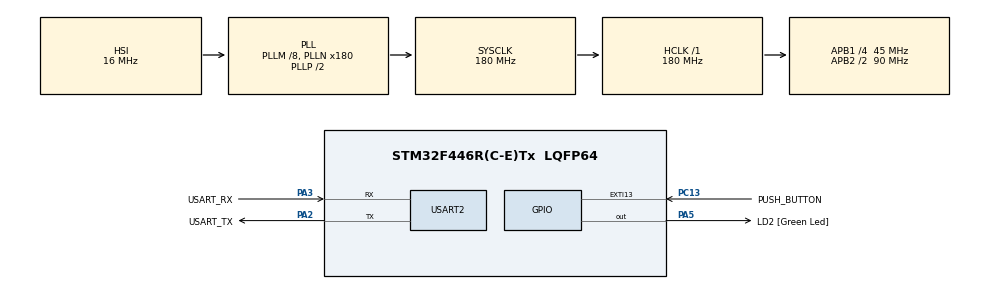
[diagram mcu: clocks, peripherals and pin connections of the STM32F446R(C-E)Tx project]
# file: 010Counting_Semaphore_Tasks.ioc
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Mcu.Family=STM32F4
VP_SYS_VS_tim6.Mode=TIM6
PH0-OSC_IN.Signal=RCC_OSC_IN
RCC.CortexFreq_Value=180000000
NVIC.TIM6_DAC_IRQn=true\:0\:0\:false\:false\:true\:false\:true
PC13.Signal=GPXTI13
PA14.GPIO_Label=TCK
VP_RTC_VS_RTC_Activate.Mode=RTC_Enabled
PC13.GPIO_Label=PUSH_BUTTON
RCC.APB1CLKDivider=RCC_HCLK_DIV4
PC14-OSC32_IN.Signal=RCC_OSC32_IN
NVIC.USART2_IRQn=true\:6\:0\:true\:false\:true\:true\:true
RCC.SYSCLKSource=RCC_SYSCLKSOURCE_PLLCLK
ProjectManager.StackSize=0x400
PA13.Signal=SYS_JTMS-SWDIO
PA3.Mode=Asynchronous
ProjectManager.TargetToolchain=STM32CubeIDE
RCC.HCLKFreq_Value=180000000
RCC.APB2TimFreq_Value=180000000
RCC.USBFreq_Value=180000000
RCC.LSE_VALUE=32768
PC15-OSC32_OUT.Signal=RCC_OSC32_OUT
RCC.AHBFreq_Value=180000000
PA5.Signal=GPIO_Output
RCC.HSE_VALUE=8000000
board=NUCLEO-F446RE
RCC.VCOOutputFreq_Value=360000000
RCC.APB2Freq_Value=90000000
PH1-OSC_OUT.Signal=RCC_OSC_OUT
Mcu.Name=STM32F446R(C-E)Tx
PA2.Signal=USART2_TX
PA13.GPIO_Label=TMS
RCC.FLatency-AdvancedSettings=FLASH_LATENCY_5
PB3.Signal=SYS_JTDO-SWO
RCC.SYSCLKFreq_VALUE=180000000
Mcu.Package=LQFP64
NVIC.TimeBase=TIM6_DAC_IRQn
PA5.GPIO_Label=LD2 [Green Led]
PC13.GPIO_ModeDefaultEXTI=GPIO_MODE_IT_RISING
USART2.VirtualMode=VM_ASYNC
PA2.GPIO_Label=USART_TX
NVIC.TimeBaseIP=TIM6
PA14.Signal=SYS_JTCK-SWCLK
RTC.HourFormat=RTC_HOURFORMAT_12
ProjectManager.HeapSize=0x200
RCC.HSI_VALUE=16000000
NVIC.PriorityGroup=NVIC_PRIORITYGROUP_4
RCC.APB2CLKDivider=RCC_HCLK_DIV2
RCC.PLLM=8
RCC.PLLN=180
RCC.APB1TimFreq_Value=90000000
PA2.Mode=Asynchronous
RCC.APB1Freq_Value=45000000
PA3.GPIO_Label=USART_RX
PA3.Signal=USART2_RX
PB3.GPIO_Label=SWO

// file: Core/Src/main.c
/* USER CODE BEGIN Header */
/**
  ******************************************************************************
  * @file           : main.c
  * @brief          : Main program body
  ******************************************************************************
  * @attention
  *
  * <h2><center>&copy; Copyright (c) 2021 STMicroelectronics.
  * All rights reserved.</center></h2>
  *
  * This software component is licensed by ST under BSD 3-Clause license,
  * the "License"; You may not use this file except in compliance with the
  * License. You may obtain a copy of the License at:
  *                        opensource.org/licenses/BSD-3-Clause
  *
  ******************************************************************************
  */
/* USER CODE END Header */
#include "main.h"

/* USER CODE BEGIN PD */
#define DWT_CTRL    (*(volatile uint32_t*)0xE0001000)

/* USER CODE END PD */

RTC_HandleTypeDef hrtc;

UART_HandleTypeDef huart2;

/* USER CODE BEGIN PV */
char usr_msg[250] = {0};
TaskHandle_t xTaskHandle1 = NULL;
TaskHandle_t xTaskHandle2 = NULL;

/* USER CODE END PV */

void SystemClock_Config(void);
static void MX_GPIO_Init(void);
static void MX_RTC_Init(void);
static void MX_USART2_UART_Init(void);
/* USER CODE BEGIN PFP */
void printmsg(char *msg);
static void vHandlerTask( void *pvParameters );
static void vPeriodicTask( void *pvParameters );

extern void SEGGER_UART_init(uint32_t);
/* Enable the software interrupt and set its priority. */
static void prvSetupSoftwareInterrupt();

/* The service routine for the interrupt.  This is the interrupt that the
task will be synchronized with. */
void vSoftwareInterruptHandler( void );
/* USER CODE END PFP */

/* USER CODE BEGIN 0 */

/* Declare a variable of type xSemaphoreHandle.  This is used to reference the
semaphore that is used to synchronize a task with an interrupt. */
xSemaphoreHandle xCountingSemaphore;
/* USER CODE END 0 */

int main(void)
{
  /* USER CODE BEGIN 1 */
	SEGGER_UART_init(500000);
	// Used to collect SEGGER Event time-stamps
	DWT->CTRL |= (1 << 0); //Enable CYCCNT in DWT_CTRL
  /* USER CODE END 1 */

  /* MCU Configuration--------------------------------------------------------*/

  /* Reset of all peripherals, Initializes the Flash interface and the Systick. */
  HAL_Init();

  /* Configure the system clock */
  SystemClock_Config();

  /* Initialize all configured peripherals */
  MX_GPIO_Init();
  MX_RTC_Init();
  MX_USART2_UART_Init();
  /* USER CODE BEGIN 2 */

  //Start Recording with Segger SystemView
	SEGGER_SYSVIEW_Conf();
	//SEGGER_SYSVIEW_Start();

	sprintf(usr_msg,"Demo of usage of counting semaphore\r\n");
	printmsg(usr_msg);

	/* Before a semaphore is used it must be explicitly created.  In this example
	a counting semaphore is created.  The semaphore is created to have a maximum
	count value of 10, and an initial count value of 0. */
	xCountingSemaphore = xSemaphoreCreateCounting(10, 0);

	/* Check the semaphore was created successfully. */
	if(xCountingSemaphore != NULL) {

		/* Enable the button interrupt and set its priority. */
		prvSetupSoftwareInterrupt();

		/* Create the 'handler' task.  This is the task that will be synchronized
		with the interrupt.  The handler task is created with a high priority to
		ensure it runs immediately after the interrupt exits.  In this case a
		priority of 3 is chosen. */
		xTaskCreate(vHandlerTask, "Handler", 500, NULL, 3, NULL);

		/* Create the task that will periodically generate a software interrupt.
		This is created with a priority below the handler task to ensure it will
		get preempted each time the handler task exist the Blocked state. */
		xTaskCreate(vPeriodicTask, "Periodic", 500, NULL, 1, NULL);

		/* Start the scheduler so the created tasks start executing. */
		vTaskStartScheduler();
	}

	sprintf(usr_msg, "Semaphore creation failed... \r\n");
	printmsg(usr_msg);

	//Code will never reach here if creation of Queue/Semaphore was successful because the scheduler will be running the tasks indefinitely.
	//If it does reach here, then it is likely due to insufficient heap memory available for a resource to be created.

  /* USER CODE END 2 */

  /* Infinite loop */
  while (1)
  {

  }
}

void SystemClock_Config(void)
{
  RCC_OscInitTypeDef RCC_OscInitStruct = {0};
  RCC_ClkInitTypeDef RCC_ClkInitStruct = {0};
  RCC_PeriphCLKInitTypeDef PeriphClkInitStruct = {0};

  /** Configure the main internal regulator output voltage
  */
  __HAL_RCC_PWR_CLK_ENABLE();
  __HAL_PWR_VOLTAGESCALING_CONFIG(PWR_REGULATOR_VOLTAGE_SCALE1);
  /** Initializes the RCC Oscillators according to the specified parameters
  * in the RCC_OscInitTypeDef structure.
  */
  RCC_OscInitStruct.OscillatorType = RCC_OSCILLATORTYPE_HSI|RCC_OSCILLATORTYPE_LSI;
  RCC_OscInitStruct.LSEState = RCC_LSE_OFF;
  RCC_OscInitStruct.HSIState = RCC_HSI_ON;
  RCC_OscInitStruct.HSICalibrationValue = RCC_HSICALIBRATION_DEFAULT;
  RCC_OscInitStruct.LSIState = RCC_LSI_ON;
  RCC_OscInitStruct.PLL.PLLState = RCC_PLL_ON;
  RCC_OscInitStruct.PLL.PLLSource = RCC_PLLSOURCE_HSI;
  RCC_OscInitStruct.PLL.PLLM = 8;
  RCC_OscInitStruct.PLL.PLLN = 180;
  RCC_OscInitStruct.PLL.PLLP = RCC_PLLP_DIV2;
  RCC_OscInitStruct.PLL.PLLQ = 2;
  RCC_OscInitStruct.PLL.PLLR = 2;
  if (HAL_RCC_OscConfig(&RCC_OscInitStruct) != HAL_OK)
  {
    Error_Handler();
  }
  /** Activate the Over-Drive mode
  */
  if (HAL_PWREx_EnableOverDrive() != HAL_OK)
  {
    Error_Handler();
  }
  /** Initializes the CPU, AHB and APB buses clocks
  */
  RCC_ClkInitStruct.ClockType = RCC_CLOCKTYPE_HCLK|RCC_CLOCKTYPE_SYSCLK
                              |RCC_CLOCKTYPE_PCLK1|RCC_CLOCKTYPE_PCLK2;
  RCC_ClkInitStruct.SYSCLKSource = RCC_SYSCLKSOURCE_PLLCLK;
  RCC_ClkInitStruct.AHBCLKDivider = RCC_SYSCLK_DIV1;
  RCC_ClkInitStruct.APB1CLKDivider = RCC_HCLK_DIV4;
  RCC_ClkInitStruct.APB2CLKDivider = RCC_HCLK_DIV2;

  if (HAL_RCC_ClockConfig(&RCC_ClkInitStruct, FLASH_LATENCY_5) != HAL_OK)
  {
    Error_Handler();
  }
  PeriphClkInitStruct.PeriphClockSelection = RCC_PERIPHCLK_RTC;
  PeriphClkInitStruct.RTCClockSelection = RCC_RTCCLKSOURCE_LSI;
  if (HAL_RCCEx_PeriphCLKConfig(&PeriphClkInitStruct) != HAL_OK)
  {
    Error_Handler();
  }
}

static void MX_RTC_Init(void)
{

  /** Initialize RTC Only
  */
  hrtc.Instance = RTC;
  hrtc.Init.HourFormat = RTC_HOURFORMAT_12;
  hrtc.Init.AsynchPrediv = 127;
  hrtc.Init.SynchPrediv = 255;
  hrtc.Init.OutPut = RTC_OUTPUT_DISABLE;
  hrtc.Init.OutPutPolarity = RTC_OUTPUT_POLARITY_HIGH;
  hrtc.Init.OutPutType = RTC_OUTPUT_TYPE_OPENDRAIN;
  if (HAL_RTC_Init(&hrtc) != HAL_OK)
  {
    Error_Handler();
  }

}

static void MX_USART2_UART_Init(void)
{

  huart2.Instance = USART2;
  huart2.Init.BaudRate = 115200;
  huart2.Init.WordLength = UART_WORDLENGTH_8B;
  huart2.Init.StopBits = UART_STOPBITS_1;
  huart2.Init.Parity = UART_PARITY_NONE;
  huart2.Init.Mode = UART_MODE_TX_RX;
  huart2.Init.HwFlowCtl = UART_HWCONTROL_NONE;
  huart2.Init.OverSampling = UART_OVERSAMPLING_16;
  if (HAL_UART_Init(&huart2) != HAL_OK)
  {
    Error_Handler();
  }

}

static void MX_GPIO_Init(void)
{
  GPIO_InitTypeDef GPIO_InitStruct = {0};

  /* GPIO Ports Clock Enable */
  __HAL_RCC_GPIOC_CLK_ENABLE();
  __HAL_RCC_GPIOH_CLK_ENABLE();
  __HAL_RCC_GPIOA_CLK_ENABLE();
  __HAL_RCC_GPIOB_CLK_ENABLE();

  /*Configure GPIO pin Output Level */
  HAL_GPIO_WritePin(LD2_GPIO_Port, LD2_Pin, GPIO_PIN_RESET);

  /*Configure GPIO pin : PUSH_BUTTON_Pin */
  GPIO_InitStruct.Pin = PUSH_BUTTON_Pin;
  GPIO_InitStruct.Mode = GPIO_MODE_IT_RISING;
  GPIO_InitStruct.Pull = GPIO_NOPULL;
  HAL_GPIO_Init(PUSH_BUTTON_GPIO_Port, &GPIO_InitStruct);

  /*Configure GPIO pin : LD2_Pin */
  GPIO_InitStruct.Pin = LD2_Pin;
  GPIO_InitStruct.Mode = GPIO_MODE_OUTPUT_PP;
  GPIO_InitStruct.Pull = GPIO_NOPULL;
  GPIO_InitStruct.Speed = GPIO_SPEED_FREQ_LOW;
  HAL_GPIO_Init(LD2_GPIO_Port, &GPIO_InitStruct);

}

/* USER CODE BEGIN 4 */
static void vHandlerTask(void *pvParameters) {

	for(;;) {
		/* Use the semaphore to wait for the event.  The semaphore was created
		before the scheduler was started so before this task ran for the first
		time.  The task blocks indefinitely meaning this function call will only
		return once the semaphore has been successfully obtained - so there is no
		need to check the returned value. */
		xSemaphoreTake(xCountingSemaphore, portMAX_DELAY);

		/* To get here the event must have occurred.  Process the event (in this
		case we just print out a message). */
		sprintf(usr_msg, "Handler task - Processing event.\r\n");
		printmsg(usr_msg);
	}
}

static void vPeriodicTask(void *pvParameters) {

	for(;;) {
		/* This task is just used to 'simulate' an interrupt. This is done by
		periodically generating a software interrupt. */
		vTaskDelay(pdMS_TO_TICKS(500));

		/* Generate the interrupt, printing a message both beforehand and
		afterwards so the sequence of execution is evident from the output. */
        sprintf(usr_msg, "Periodic task - Pending the interrupt.\r\n" );
    	printmsg(usr_msg);

        /* Pend the interrupt */
        NVIC_SetPendingIRQ(EXTI15_10_IRQn);

        sprintf(usr_msg, "Periodic task - Resuming.\r\n" );
        printmsg(usr_msg);
	}
}

static void prvSetupSoftwareInterrupt(void) {
	/* Here were simulating the button interrupt by manually setting the interrupt enable bit in the NVIC enable register */

	/* The interrupt service routine uses an (interrupt safe) FreeRTOS API
	function so the interrupt priority must be at or below the priority defined
	by configSYSCALL_INTERRUPT_PRIORITY. */

	NVIC_SetPriority(EXTI15_10_IRQn, configLIBRARY_MAX_SYSCALL_INTERRUPT_PRIORITY);

	/* Enable the interrupt */
	NVIC_EnableIRQ(EXTI15_10_IRQn);
}

void EXTI15_10_IRQHandler(void) {

	portBASE_TYPE xHigherPriorityTaskWoken = pdFALSE;

	/* 'Give' the semaphore multiple times.  The first will unblock the handler
	task, the following 'gives' are to demonstrate that the semaphore latches
	the events to allow the handler task to process them in turn without any
	events getting lost.  This simulates multiple interrupts being taken by the
	processor, even though in this case the events are simulated within a single
	interrupt occurrence.*/
	sprintf(usr_msg, "==>Button_Handler\r\n");
	printmsg(usr_msg);

	xSemaphoreGiveFromISR(xCountingSemaphore, &xHigherPriorityTaskWoken);
	xSemaphoreGiveFromISR(xCountingSemaphore, &xHigherPriorityTaskWoken);
	xSemaphoreGiveFromISR(xCountingSemaphore, &xHigherPriorityTaskWoken);
	xSemaphoreGiveFromISR(xCountingSemaphore, &xHigherPriorityTaskWoken);
	xSemaphoreGiveFromISR(xCountingSemaphore, &xHigherPriorityTaskWoken);

    /* Clear the software interrupt bit using the interrupt controllers  */

    /* Giving the semaphore may have unblocked a task - if it did and the
    unblocked task has a priority equal to or above the currently executing
    task then xHigherPriorityTaskWoken will have been set to pdTRUE and
    portEND_SWITCHING_ISR() will force a context switch to the newly unblocked
    higher priority task.
    NOTE: The syntax for forcing a context switch within an ISR varies between
    FreeRTOS ports.  The portEND_SWITCHING_ISR() macro is provided as part of
    the Cortex M3 port layer for this purpose.  taskYIELD() must never be called
    from an ISR! */
    portEND_SWITCHING_ISR(xHigherPriorityTaskWoken);
}

void printmsg(char *msg) {

	for(uint32_t i = 0; i < strlen(msg); i++) {
		HAL_UART_Transmit(&huart2, (uint8_t*)&msg[i], sizeof(msg[i]), HAL_MAX_DELAY);
	}
}
/* USER CODE END 4 */

 /**
  * @brief  Period elapsed callback in non blocking mode
  * @note   This function is called  when TIM6 interrupt took place, inside
  * HAL_TIM_IRQHandler(). It makes a direct call to HAL_IncTick() to increment
  * a global variable "uwTick" used as application time base.
  * @param  htim : TIM handle
  * @retval None
  */
void HAL_TIM_PeriodElapsedCallback(TIM_HandleTypeDef *htim)
{
  if (htim->Instance == TIM6) {
    HAL_IncTick();
  }
}

void Error_Handler(void)
{
  __disable_irq();
  while (1)
  {
  }
}

/************************ (C) COPYRIGHT STMicroelectronics *****END OF FILE****/
